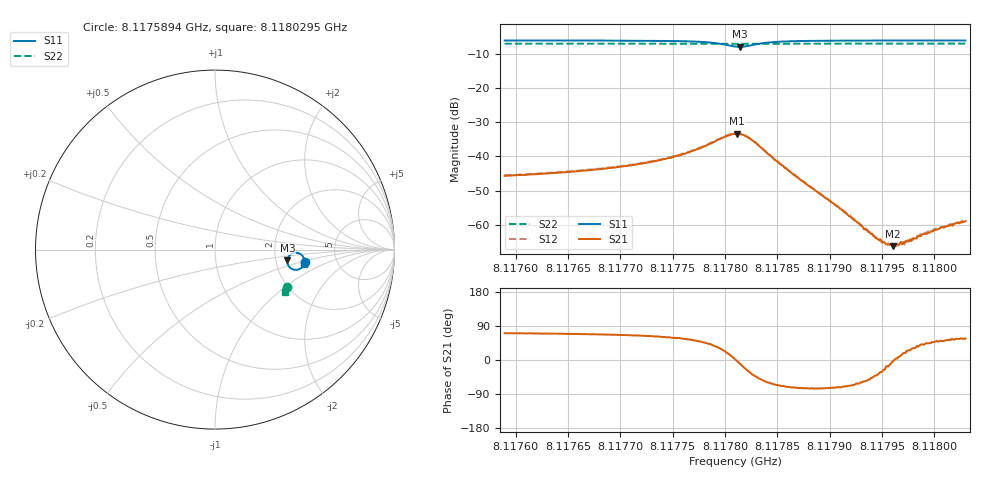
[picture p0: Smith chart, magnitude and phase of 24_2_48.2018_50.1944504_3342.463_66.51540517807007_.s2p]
#  HZ  S  RI  R  50.00
! Rohde & Schwarz Vector Network Analyzer
! Rohde-Schwarz,ZNB20-2Port,1311601062101988,3.16
! Created: UTC 3/20/2024, 11:37:05 AM
! freq[Hz]  re:S11  im:S11  re:S21  im:S21  re:S12  im:S12  re:S22  im:S22
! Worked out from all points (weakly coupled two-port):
!   401 points, 8.1175894 GHz to 8.1180295 GHz, reference 50 ohm
!   highest |S21| = -33.33 dB at 8.1178116 GHz (marker M1); lowest = -66.3 dB at 8.1179602 GHz (marker M2)
!   lowest |S11| = -7.8 dB at 8.1178138 GHz (marker M3), VSWR 2.37, Z = 116 - j16.3 ohm
!   |S11| at or under -10 dB: nowhere
!   |S22| runs from -7.0 to -6.9 dB; largest |S21 - S12| = 0.00063
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8.11758936e9  0.5004 -0.0663  0.0017 0.0049  0.00178 0.00498  0.4019 -0.2078
8.11766309e9  0.4979 -0.076  0.00228 0.00573  0.00236 0.00581  0.3996 -0.2126
8.1177071e9  0.4946 -0.0843  0.00303 0.00666  0.00313 0.00672  0.3981 -0.2155
8.11773681e9  0.4898 -0.0921  0.00415 0.00773  0.0043 0.00788  0.3967 -0.2176
8.11776542e9  0.4788 -0.1034  0.0067 0.00927  0.00704 0.00932  0.3953 -0.2196
8.11779403e9  0.4402 -0.1117  0.015 0.0095  0.0155 0.00938  0.3926 -0.2213
8.11780944e9  0.4043 -0.0778  0.0213 0.000846  0.0218 0.000486  0.3911 -0.2202
8.11781164e9  0.4027 -0.0685  0.0215 -0.00134  0.0219 -0.00157  0.3911 -0.2199
8.11781384e9  0.4029 -0.0587  0.0211 -0.00335  0.0214 -0.00377  0.3911 -0.2197
8.11781934e9  0.412 -0.0366  0.0183 -0.00774  0.0186 -0.00819  0.3917 -0.2191
8.11782594e9  0.432 -0.0208  0.0135 -0.0107  0.0137 -0.0108  0.3925 -0.2191
8.11784795e9  0.4794 -0.027  0.00376 -0.00807  0.00378 -0.00821  0.3939 -0.2212
8.11788316e9  0.4959 -0.0494  0.000911 -0.00329  0.000856 -0.00337  0.3933 -0.2245
8.11791727e9  0.4986 -0.061  0.00051 -0.00129  0.000506 -0.00132  0.3921 -0.2271
8.11794809e9  0.4992 -0.0677  0.000514 -0.000322  0.000464 -0.000338  0.3912 -0.2291
8.11795689e9  0.4991 -0.0693  0.000496 -0.000119  0.000515 -0.000112  0.3907 -0.2297
8.11796019e9  0.4991 -0.0699  0.000486 -2.94e-05  0.000493 -3.62e-05  0.3907 -0.2299
8.11796459e9  0.4992 -0.0707  0.000509 3.38e-05  0.000524 7e-05  0.3904 -0.2301
8.11797339e9  0.4992 -0.0721  0.00051 0.000233  0.0005 0.000199  0.3902 -0.2309
8.1179811e9  0.4989 -0.0733  0.000534 0.000331  0.00053 0.000368  0.39 -0.2314
8.1180009e9  0.4989 -0.076  0.000555 0.000629  0.000568 0.000611  0.3893 -0.2325
8.11802951e9  0.4985 -0.0796  0.000619 0.000941  0.000622 0.000973  0.3883 -0.2344
